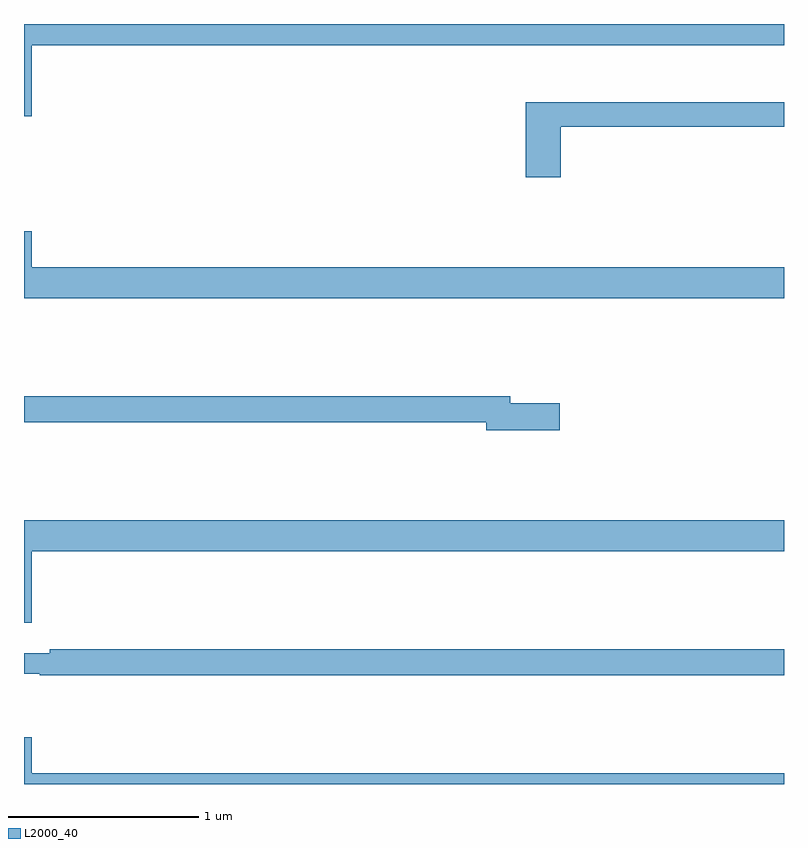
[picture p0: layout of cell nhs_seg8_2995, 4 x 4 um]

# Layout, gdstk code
import gdstk
lib = gdstk.Library(unit=1e-6, precision=1e-09)
def P(c, l, *ps):  # polygons
    for p in ps: c.add(gdstk.Polygon(p, *l))
L2000_40 = (2000, 40)

nhs_seg8_2995 = lib.new_cell('nhs_seg8_2995')
P(nhs_seg8_2995, L2000_40, [(297.04,1161.788),(301,1161.788),(301,1161.9),(297,1161.9),(297,1161.414),(297.04,1161.414)],
  [(299.825,1161.358),(301,1161.358),(301,1161.487),(299.642,1161.487),(299.642,1161.093),(299.825,1161.093)],
  [(301,1160.62),(297.04,1160.62),(297.04,1160.809),(297,1160.809),(297,1160.456),(301,1160.456)],
  [(299.821,1159.904),(299.56,1159.904),(299.56,1159.94),(297,1159.94),(297,1159.804),(299.432,1159.804),(299.432,1159.762),(299.821,1159.762)],
  [(297.04,1159.124),(301,1159.124),(301,1159.288),(297,1159.288),(297,1158.75),(297.04,1158.75)],
  [(301,1158.608),(297.136,1158.608),(297.136,1158.589),(297,1158.589),(297,1158.48),(297.082,1158.48),(297.082,1158.472),(301,1158.472)],
  [(301,1157.956),(297.04,1157.956),(297.04,1158.145),(297,1158.145),(297,1157.9),(301,1157.9)])

lib.write_gds('nhs_seg8_2995.gds')
